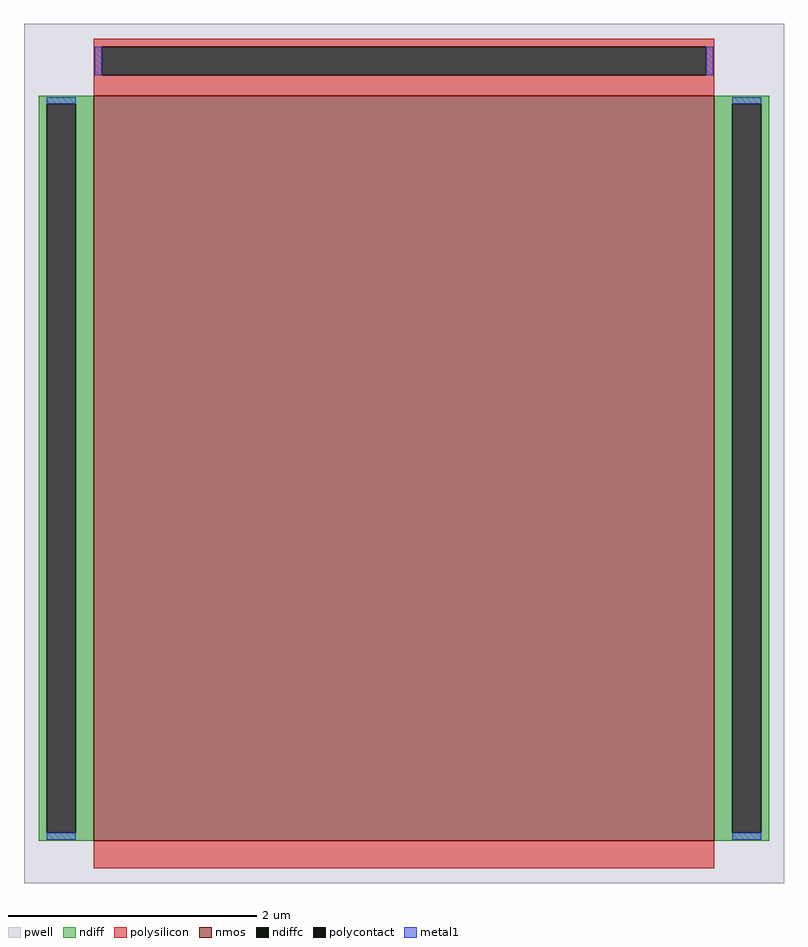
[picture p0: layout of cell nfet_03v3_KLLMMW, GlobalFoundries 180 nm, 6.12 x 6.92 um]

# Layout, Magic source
magic
tech gf180mcuD
magscale 1 10
<< pwell >>
rect -612 -692 612 692
<< nmos >>
rect -500 -624 500 576
<< ndiff >>
rect -588 563 -500 576
rect -588 -611 -575 563
rect -529 -611 -500 563
rect -588 -624 -500 -611
rect 500 563 588 576
rect 500 -611 529 563
rect 575 -611 588 563
rect 500 -624 588 -611
<< ndiffc >>
rect -575 -611 -529 563
rect 529 -611 575 563
<< polysilicon >>
rect -500 655 500 668
rect -500 609 -487 655
rect 487 609 500 655
rect -500 576 500 609
rect -500 -668 500 -624
<< polycontact >>
rect -487 609 487 655
<< metal1 >>
rect -498 609 -487 655
rect 487 609 498 655
rect -575 563 -529 574
rect -575 -622 -529 -611
rect 529 563 575 574
rect 529 -622 575 -611
<< properties >>
string gencell nfet_03v3
string library gf180mcu
string parameters w 6 l 5 m 1 nf 1 diffcov 100 polycov 100 guard 0 glc 0 grc 0 gtc 0 gbc 0 tbcov 100 rlcov 100 topc 1 botc 0 poverlap 0 doverlap 1 lmin 0.28 wmin 0.22 class mosfet full_metal 0 compatible {nfet_03v3 nfet_05v0 nfet_06v0 nfet_06v0_nvt}
<< end >>
